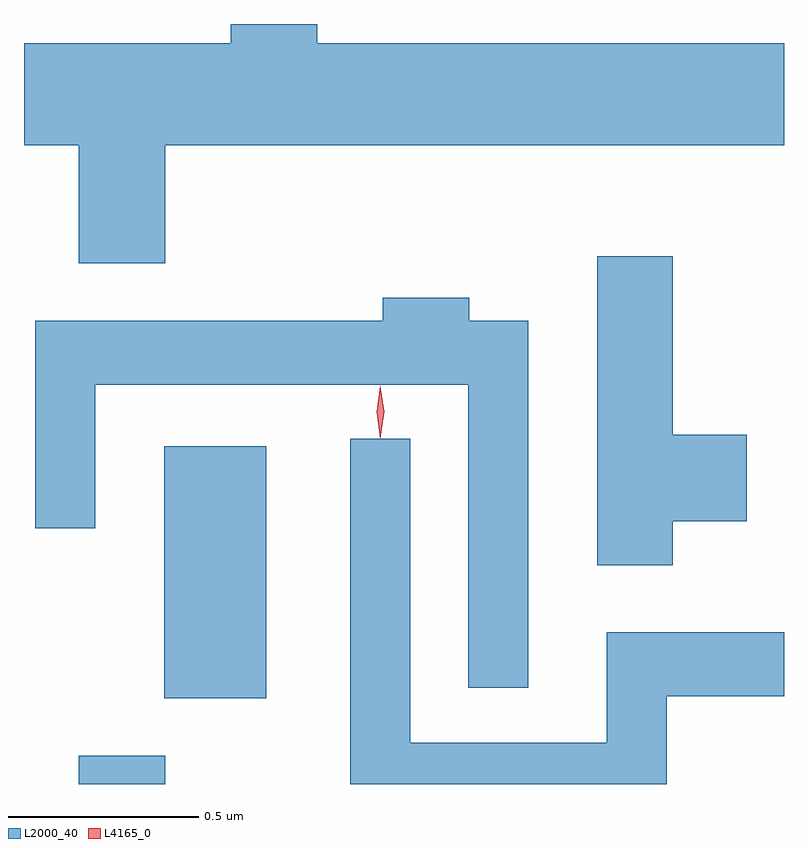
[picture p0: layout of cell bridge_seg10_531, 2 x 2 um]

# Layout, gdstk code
import gdstk
lib = gdstk.Library(unit=1e-6, precision=1e-09)
def R(c, l, rs):  # rectangles x0, y0, x1, y1
    for r in rs: c.add(gdstk.rectangle(r[:2], r[2:], *l))
def P(c, l, *ps):  # polygons
    for p in ps: c.add(gdstk.Polygon(p, *l))
L2000_40 = (2000, 40)
L4165_0 = (4165, 0)

bridge_seg10_531 = lib.new_cell('bridge_seg10_531')
R(bridge_seg10_531, L2000_40, [(857.731,2163.295,857.959,2163.369), (857.956,2163.521,858.224,2164.184)])
P(bridge_seg10_531, L2000_40, [(857.959,2164.976),(859.587,2164.976),(859.587,2165.244),(858.359,2165.244),(858.359,2165.295),(858.131,2165.295),(858.131,2165.244),(857.587,2165.244),(857.587,2164.976),(857.731,2164.976),(857.731,2164.666),(857.959,2164.666)],
  [(859.294,2163.986),(859.489,2163.986),(859.489,2164.214),(859.294,2164.214),(859.294,2164.684),(859.096,2164.684),(859.096,2163.871),(859.294,2163.871)],
  [(858.914,2164.514),(858.759,2164.514),(858.759,2164.574),(858.531,2164.574),(858.531,2164.514),(857.616,2164.514),(857.616,2163.968),(857.774,2163.968),(857.774,2164.346),(858.756,2164.346),(858.756,2163.548),(858.914,2163.548)],
  [(859.279,2163.526),(859.587,2163.526),(859.587,2163.694),(859.121,2163.694),(859.121,2163.404),(858.604,2163.404),(858.604,2164.203),(858.446,2164.203),(858.446,2163.295),(859.279,2163.295)])
P(bridge_seg10_531, L4165_0, [(858.524,2164.204),(858.515,2164.274),(858.524,2164.342),(858.525,2164.343),(858.525,2164.342),(858.535,2164.274),(858.525,2164.204),(858.525,2164.204)],
  [(858.524,2164.207),(858.515,2164.274),(858.524,2164.34),(858.525,2164.34),(858.525,2164.34),(858.535,2164.274),(858.525,2164.207),(858.525,2164.207)])

lib.write_gds('bridge_seg10_531.gds')
